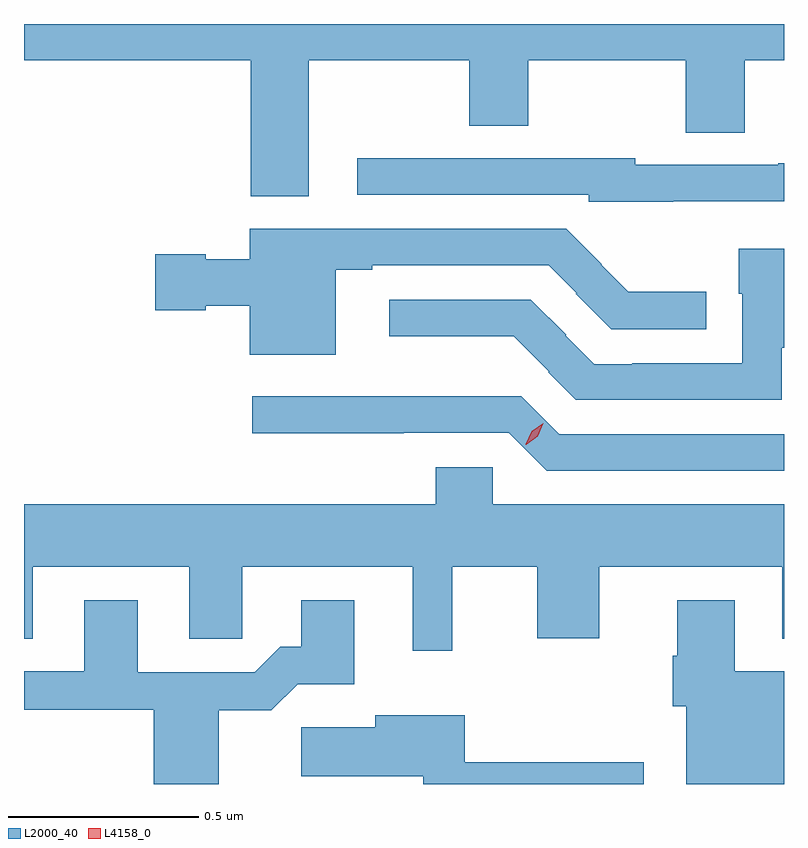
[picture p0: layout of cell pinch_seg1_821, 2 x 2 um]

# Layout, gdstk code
import gdstk
lib = gdstk.Library(unit=1e-6, precision=1e-09)
def P(c, l, *ps):  # polygons
    for p in ps: c.add(gdstk.Polygon(p, *l))
L2000_40 = (2000, 40)
L4158_0 = (4158, 0)

pinch_seg1_821 = lib.new_cell('pinch_seg1_821')
P(pinch_seg1_821, L2000_40, [(404.59,580.864),(404.745,580.864),(404.745,581.036),(405.16,581.036),(405.16,580.846),(405.315,580.846),(405.315,581.036),(405.418,581.036),(405.418,581.132),(403.418,581.132),(403.418,581.036),(404.015,581.036),(404.015,580.679),(404.167,580.679),(404.167,581.036),(404.59,581.036)],
  [(405.127,580.665),(405.418,580.665),(405.418,580.766),(405.403,580.766),(405.403,580.761),(405.027,580.761),(405.027,580.779),(404.295,580.779),(404.295,580.683),(404.904,580.683),(404.904,580.664),(405.127,580.664)],
  [(404.239,580.485),(404.335,580.485),(404.335,580.497),(404.799,580.497),(404.872,580.424),(404.87,580.422),(404.963,580.329),(405.214,580.329),(405.214,580.428),(405.008,580.428),(404.937,580.499),(404.938,580.5),(404.845,580.593),(404.012,580.593),(404.012,580.513),(403.896,580.513),(403.896,580.526),(403.764,580.526),(403.764,580.379),(403.896,580.379),(403.896,580.391),(404.012,580.391),(404.012,580.262),(404.239,580.262)],
  [(405.412,580.28),(405.418,580.28),(405.418,580.54),(405.299,580.54),(405.299,580.422),(405.308,580.422),(405.308,580.239),(405.019,580.239),(405.019,580.236),(404.919,580.236),(404.843,580.312),(404.845,580.314),(404.752,580.407),(404.379,580.407),(404.379,580.31),(404.707,580.31),(404.799,580.218),(404.797,580.216),(404.87,580.143),(405.412,580.143)],
  [(405.418,580.053),(404.826,580.053),(404.727,580.152),(404.63,580.152),(404.63,580.153),(404.391,580.153),(404.391,580.152),(404.019,580.152),(404.019,580.055),(404.417,580.055),(404.417,580.056),(404.694,580.056),(404.793,579.957),(405.418,579.957)],
  [(404.545,579.704),(404.768,579.704),(404.768,579.516),(404.932,579.516),(404.932,579.704),(405.413,579.704),(405.413,579.514),(405.418,579.514),(405.418,579.868),(404.652,579.868),(404.652,579.966),(404.501,579.966),(404.501,579.868),(403.418,579.868),(403.418,579.514),(403.441,579.514),(403.441,579.704),(403.853,579.704),(403.853,579.514),(403.992,579.514),(403.992,579.704),(404.441,579.704),(404.441,579.483),(404.545,579.483)],
  [(405.418,579.429),(405.289,579.429),(405.289,579.616),(405.137,579.616),(405.137,579.47),(405.125,579.47),(405.125,579.336),(405.161,579.336),(405.161,579.132),(405.418,579.132)],
  [(403.93,579.326),(404.069,579.326),(404.138,579.395),(404.287,579.395),(404.287,579.616),(404.147,579.616),(404.147,579.493),(404.092,579.493),(404.025,579.426),(403.717,579.426),(403.717,579.616),(403.577,579.616),(403.577,579.429),(403.418,579.429),(403.418,579.328),(403.76,579.328),(403.76,579.132),(403.93,579.132)],
  [(405.049,579.189),(404.578,579.189),(404.578,579.313),(404.342,579.313),(404.342,579.281),(404.148,579.281),(404.148,579.152),(404.468,579.152),(404.468,579.132),(405.049,579.132)])
P(pinch_seg1_821, L4158_0, [(404.739,580.025),(404.739,580.026),(404.754,580.06),(404.785,580.081),(404.785,580.081),(404.785,580.081),(404.77,580.047),(404.74,580.025)])

lib.write_gds('pinch_seg1_821.gds')
